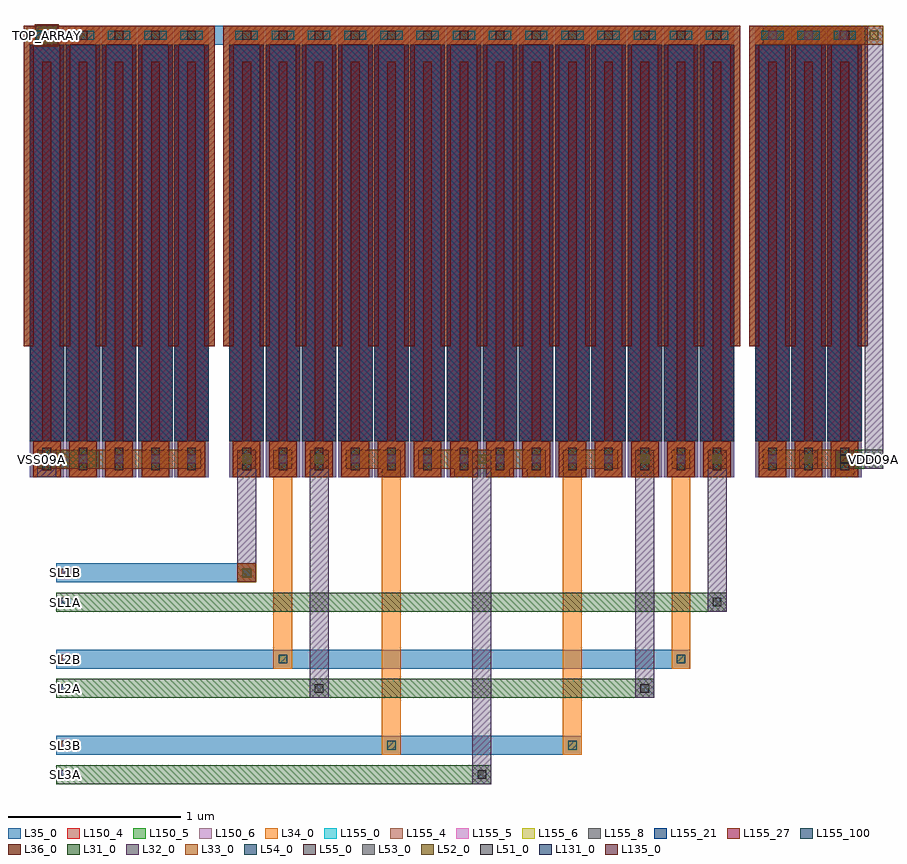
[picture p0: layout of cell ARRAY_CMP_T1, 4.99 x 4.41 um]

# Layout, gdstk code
from math import pi, radians
import gdstk
lib = gdstk.Library(unit=1e-6, precision=1e-09)
def R(c, l, rs):  # rectangles x0, y0, x1, y1
    for r in rs: c.add(gdstk.rectangle(r[:2], r[2:], *l))
def A(c, l, x, y, w, h, nx, ny, dx, dy):  # array of equal rectangles
    R(c, l, [(x+i*dx, y+j*dy, x+i*dx+w, y+j*dy+h) for i in range(nx) for j in range(ny)])
L31_0 = (31, 0)
L32_0 = (32, 0)
L33_0 = (33, 0)
L34_0 = (34, 0)
L35_0 = (35, 0)
L36_0 = (36, 0)
L51_0 = (51, 0)
L52_0 = (52, 0)
L53_0 = (53, 0)
L54_0 = (54, 0)
L55_0 = (55, 0)
L131_0 = (131, 0)
L135_0 = (135, 0)
L150_4 = (150, 4)
L150_5 = (150, 5)
L150_6 = (150, 6)
L155_0 = (155, 0)
L155_4 = (155, 4)
L155_5 = (155, 5)
L155_6 = (155, 6)
L155_8 = (155, 8)
L155_21 = (155, 21)
L155_27 = (155, 27)
L155_100 = (155, 100)

m5_m4_cdns_620205768207 = lib.new_cell('M5_M4_CDNS_620205768207')
R(m5_m4_cdns_620205768207, L34_0, [(-0.07,-0.105,0.07,0.105)])
R(m5_m4_cdns_620205768207, L35_0, [(-0.07,-0.105,0.07,0.105)])
R(m5_m4_cdns_620205768207, L54_0, [(-0.025,-0.065,0.025,0.065)])

m6_m5_cdns_620205768208 = lib.new_cell('M6_M5_CDNS_620205768208')
R(m6_m5_cdns_620205768208, L35_0, [(-0.07,-0.105,0.07,0.105)])
R(m6_m5_cdns_620205768208, L36_0, [(-0.055,-0.105,0.055,0.105)])
R(m6_m5_cdns_620205768208, L55_0, [(-0.025,-0.065,0.025,0.065)])

m5_m4_cdns_620205768209 = lib.new_cell('M5_M4_CDNS_620205768209')
R(m5_m4_cdns_620205768209, L34_0, [(-0.095,-0.055,0.095,0.055)])
R(m5_m4_cdns_620205768209, L35_0, [(-0.12,-0.055,0.12,0.055)])
R(m5_m4_cdns_620205768209, L54_0, [(-0.065,-0.025,0.065,0.025)])

m6_m5_cdns_6202057682010 = lib.new_cell('M6_M5_CDNS_6202057682010')
R(m6_m5_cdns_6202057682010, L35_0, [(-0.055,-0.055,0.055,0.055)])
R(m6_m5_cdns_6202057682010, L36_0, [(-0.055,-0.055,0.055,0.055)])
R(m6_m5_cdns_6202057682010, L55_0, [(-0.025,-0.025,0.025,0.025)])

cu1f = lib.new_cell('CU1F')
R(cu1f, L34_0, [(0.02,0,0.18,0.21), (-0.035,2.51,0.235,2.62)])
R(cu1f, L35_0, [(0.02,0,0.18,0.21), (-0.035,2.51,0.235,2.62)])
R(cu1f, L36_0, [(0.02,0,0.18,0.21), (-0.035,2.51,0.235,2.62)])
R(cu1f, L150_4, [(0,0,0.2,2.62)])
R(cu1f, L150_5, [(0,0,0.2,2.62)])
R(cu1f, L150_6, [(0,0,0.2,2.62)])
R(cu1f, L155_0, [(0,0.21,0.2,2.51)])
R(cu1f, L155_4, [(0,0.21,0.2,2.51)])
R(cu1f, L155_5, [(0,0.21,0.2,2.51)])
R(cu1f, L155_6, [(0,0.21,0.2,2.51)])
R(cu1f, L155_8, [(0,0.21,0.2,2.51)])
R(cu1f, L155_21, [(0,0.21,0.2,2.51)])
R(cu1f, L155_27, [(0,0.21,0.2,2.51)])
R(cu1f, L155_100, [(0,0.21,0.2,2.51)])
cu1f.add(gdstk.FlexPath([(0.205,2.59),(0.205,0.76)], 0.06, ends=(0.03, 0), simple_path=True, layer=34, datatype=0))  # L34_0
cu1f.add(gdstk.FlexPath([(0.1,2.41),(0.1,0)], 0.05, ends="flush", simple_path=True, layer=34, datatype=0))  # L34_0
cu1f.add(gdstk.FlexPath([(-0.005,2.59),(-0.005,0.76)], 0.06, ends=(0.03, 0), simple_path=True, layer=34, datatype=0))  # L34_0
cu1f.add(gdstk.FlexPath([(0.205,0.76),(0.205,2.59)], 0.06, ends=(0, 0.03), simple_path=True, layer=35, datatype=0))  # L35_0
cu1f.add(gdstk.FlexPath([(0.1,2.41),(0.1,0)], 0.05, ends="flush", simple_path=True, layer=35, datatype=0))  # L35_0
cu1f.add(gdstk.FlexPath([(-0.005,0.76),(-0.005,2.59)], 0.06, ends=(0, 0.03), simple_path=True, layer=35, datatype=0))  # L35_0
cu1f.add(gdstk.FlexPath([(0.205,0.76),(0.205,2.59)], 0.06, ends=(0, 0.03), simple_path=True, layer=36, datatype=0))  # L36_0
cu1f.add(gdstk.FlexPath([(0.1,2.41),(0.1,0)], 0.05, ends="flush", simple_path=True, layer=36, datatype=0))  # L36_0
cu1f.add(gdstk.FlexPath([(-0.005,0.76),(-0.005,2.59)], 0.06, ends=(0, 0.03), simple_path=True, layer=36, datatype=0))  # L36_0
cu1f.add(gdstk.Reference(m5_m4_cdns_620205768207, (0.1,0.105), rotation=pi, x_reflection=True))
cu1f.add(gdstk.Reference(m6_m5_cdns_620205768208, (0.1,0.105), rotation=pi, x_reflection=True))
cu1f.add(gdstk.Reference(m5_m4_cdns_620205768209, (0.1,2.565)))
cu1f.add(gdstk.Reference(m6_m5_cdns_6202057682010, (0.1,2.565)))

m2_m1_cdns_620205768200 = lib.new_cell('M2_M1_CDNS_620205768200')
R(m2_m1_cdns_620205768200, L31_0, [(-0.055,-0.055,0.055,0.055)])
R(m2_m1_cdns_620205768200, L32_0, [(-0.055,-0.055,0.055,0.055)])
R(m2_m1_cdns_620205768200, L51_0, [(-0.025,-0.025,0.025,0.025)])

m3_m2_cdns_620205768201 = lib.new_cell('M3_M2_CDNS_620205768201')
R(m3_m2_cdns_620205768201, L32_0, [(-0.055,-0.055,0.055,0.055)])
R(m3_m2_cdns_620205768201, L33_0, [(-0.055,-0.055,0.055,0.055)])
R(m3_m2_cdns_620205768201, L52_0, [(-0.025,-0.025,0.025,0.025)])

m4_m3_cdns_620205768202 = lib.new_cell('M4_M3_CDNS_620205768202')
R(m4_m3_cdns_620205768202, L33_0, [(-0.055,-0.055,0.055,0.055)])
R(m4_m3_cdns_620205768202, L34_0, [(-0.055,-0.055,0.055,0.055)])
R(m4_m3_cdns_620205768202, L53_0, [(-0.025,-0.025,0.025,0.025)])

m4_m3_cdns_620205768203 = lib.new_cell('M4_M3_CDNS_620205768203')
R(m4_m3_cdns_620205768203, L33_0, [(-0.07,-0.065,0.07,0.065)])
R(m4_m3_cdns_620205768203, L34_0, [(-0.055,-0.055,0.055,0.055)])
R(m4_m3_cdns_620205768203, L53_0, [(-0.025,-0.025,0.025,0.025)])

m3_m2_cdns_620205768204 = lib.new_cell('M3_M2_CDNS_620205768204')
R(m3_m2_cdns_620205768204, L32_0, [(-0.065,-0.06,0.065,0.06)])
R(m3_m2_cdns_620205768204, L33_0, [(-0.07,-0.065,0.07,0.065)])
R(m3_m2_cdns_620205768204, L52_0, [(-0.025,-0.025,0.025,0.025)])

m2_m1_cdns_620205768205 = lib.new_cell('M2_M1_CDNS_620205768205')
R(m2_m1_cdns_620205768205, L31_0, [(-0.055,-0.055,0.055,0.055)])
R(m2_m1_cdns_620205768205, L32_0, [(-0.065,-0.06,0.065,0.06)])
R(m2_m1_cdns_620205768205, L51_0, [(-0.025,-0.025,0.025,0.025)])

m5_m4_cdns_620205768206 = lib.new_cell('M5_M4_CDNS_620205768206')
R(m5_m4_cdns_620205768206, L34_0, [(-0.055,-0.055,0.055,0.055)])
R(m5_m4_cdns_620205768206, L35_0, [(-0.055,-0.055,0.055,0.055)])
R(m5_m4_cdns_620205768206, L54_0, [(-0.025,-0.025,0.025,0.025)])

array_cmp_t1 = lib.new_cell('ARRAY_CMP_T1')
R(array_cmp_t1, L31_0, [(-0.055,-1.78,2.47,-1.67), (-0.055,-1.28,3.415,-1.17), (-0.055,-0.78,3.835,-0.67), (-0.165,0.05,0.195,0.16), (4.465,0.05,4.745,0.16), (-0.18,2.5,-0.04,2.63)])
R(array_cmp_t1, L32_0, [(2.36,-1.78,2.47,0.16), (1.415,-1.28,1.525,0.16), (3.305,-1.28,3.415,0.16), (3.725,-0.78,3.835,0.16), (0.995,-0.61,1.105,0.16), (-0.165,0,-0.055,0.16), (4.465,0.05,4.575,0.16), (4.635,0.05,4.745,2.62)])
A(array_cmp_t1, L33_0, 2.255, 0, 0.11, 0.16, 4, 1, 0.21, 0)
R(array_cmp_t1, L33_0, [(1.835,0,1.945,0.16), (3.305,0,3.415,0.16), (4.465,0,4.575,0.16), (-0.165,0.05,0.785,0.16), (1.625,0.05,1.945,0.16), (2.045,0.05,2.785,0.16), (2.885,0.05,3.205,0.16), (4.045,0.05,4.575,0.16), (4.045,2.51,4.745,2.62)])
R(array_cmp_t1, L34_0, [(1.835,-1.61,1.945,0.16), (2.885,-1.61,2.995,0.16), (1.205,-1.11,1.315,0.16), (3.515,-1.11,3.625,0.16)])
R(array_cmp_t1, L35_0, [(-0.055,-1.61,2.995,-1.5), (-0.055,-1.11,3.625,-1), (-0.055,-0.61,1.105,-0.5), (-0.18,2.51,1.125,2.62)])
A(array_cmp_t1, L131_0, -0.025, -1.75, 0.05, 0.05, 1, 3, 0, 0.5)
R(array_cmp_t1, L131_0, [(-0.165,0.08,-0.115,0.13), (4.665,0.08,4.715,0.13), (-0.135,2.54,-0.085,2.59)])
A(array_cmp_t1, L135_0, -0.025, -1.58, 0.05, 0.05, 1, 3, 0, 0.5)
array_cmp_t1.add(gdstk.Reference(cu1f, (4,0)))
array_cmp_t1.add(gdstk.Reference(cu1f, (4.21,0)))
array_cmp_t1.add(gdstk.Reference(cu1f, (0.42,0)))
array_cmp_t1.add(gdstk.Reference(cu1f, (0.63,0)))
array_cmp_t1.add(gdstk.Reference(cu1f, (4.42,0)))
array_cmp_t1.add(gdstk.Reference(cu1f, (0.21,0)))
array_cmp_t1.add(gdstk.Reference(cu1f, (0,0)))
array_cmp_t1.add(gdstk.Reference(cu1f, (-0.21,0)))
array_cmp_t1.add(gdstk.Reference(cu1f, (3.68,0)))
array_cmp_t1.add(gdstk.Reference(cu1f, (3.47,0)))
array_cmp_t1.add(gdstk.Reference(cu1f, (3.26,0)))
array_cmp_t1.add(gdstk.Reference(cu1f, (3.05,0)))
array_cmp_t1.add(gdstk.Reference(cu1f, (2.84,0)))
array_cmp_t1.add(gdstk.Reference(cu1f, (2.63,0)))
array_cmp_t1.add(gdstk.Reference(cu1f, (2.42,0)))
array_cmp_t1.add(gdstk.Reference(cu1f, (2.21,0)))
array_cmp_t1.add(gdstk.Reference(cu1f, (2,0)))
array_cmp_t1.add(gdstk.Reference(cu1f, (1.79,0)))
array_cmp_t1.add(gdstk.Reference(cu1f, (1.58,0)))
array_cmp_t1.add(gdstk.Reference(cu1f, (1.37,0)))
array_cmp_t1.add(gdstk.Reference(cu1f, (1.16,0)))
array_cmp_t1.add(gdstk.Reference(cu1f, (0.95,0)))
array_cmp_t1.add(gdstk.Reference(m2_m1_cdns_620205768200, (2.415,-1.725)))
array_cmp_t1.add(gdstk.Reference(m2_m1_cdns_620205768200, (4.69,0.105)))
array_cmp_t1.add(gdstk.Reference(m2_m1_cdns_620205768200, (-0.11,0.105)))
array_cmp_t1.add(gdstk.Reference(m2_m1_cdns_620205768200, (1.47,-1.225)))
array_cmp_t1.add(gdstk.Reference(m2_m1_cdns_620205768200, (4.52,0.105)))
array_cmp_t1.add(gdstk.Reference(m2_m1_cdns_620205768200, (3.36,-1.225)))
array_cmp_t1.add(gdstk.Reference(m2_m1_cdns_620205768200, (3.78,-0.725)))
array_cmp_t1.add(gdstk.Reference(m3_m2_cdns_620205768201, (4.69,2.565)))
array_cmp_t1.add(gdstk.Reference(m3_m2_cdns_620205768201, (1.05,0.105)))
array_cmp_t1.add(gdstk.Reference(m3_m2_cdns_620205768201, (1.47,0.105)))
array_cmp_t1.add(gdstk.Reference(m3_m2_cdns_620205768201, (2.415,0.105)))
array_cmp_t1.add(gdstk.Reference(m3_m2_cdns_620205768201, (3.78,0.105)))
array_cmp_t1.add(gdstk.Reference(m3_m2_cdns_620205768201, (3.36,0.105)))
array_cmp_t1.add(gdstk.Reference(m3_m2_cdns_620205768201, (4.52,0.105)))
array_cmp_t1.add(gdstk.Reference(m3_m2_cdns_620205768201, (-0.11,0.105)))
array_cmp_t1.add(gdstk.Reference(m3_m2_cdns_620205768201, (4.31,0.105)))
array_cmp_t1.add(gdstk.Reference(m3_m2_cdns_620205768201, (1.05,-0.555)))
array_cmp_t1.add(gdstk.Reference(m4_m3_cdns_620205768202, (1.68,0.105)))
array_cmp_t1.add(gdstk.Reference(m4_m3_cdns_620205768202, (1.05,-0.555)))
array_cmp_t1.add(gdstk.Reference(m4_m3_cdns_620205768202, (4.51,2.565), rotation=pi, x_reflection=True))
array_cmp_t1.add(gdstk.Reference(m4_m3_cdns_620205768202, (4.1,2.565), rotation=pi, x_reflection=True))
array_cmp_t1.add(gdstk.Reference(m4_m3_cdns_620205768202, (1.05,0.105)))
array_cmp_t1.add(gdstk.Reference(m4_m3_cdns_620205768202, (1.26,0.105)))
array_cmp_t1.add(gdstk.Reference(m4_m3_cdns_620205768202, (1.47,0.105)))
array_cmp_t1.add(gdstk.Reference(m4_m3_cdns_620205768202, (1.89,0.105)))
array_cmp_t1.add(gdstk.Reference(m4_m3_cdns_620205768202, (2.1,0.105)))
array_cmp_t1.add(gdstk.Reference(m4_m3_cdns_620205768202, (2.31,0.105)))
array_cmp_t1.add(gdstk.Reference(m4_m3_cdns_620205768202, (2.52,0.105)))
array_cmp_t1.add(gdstk.Reference(m4_m3_cdns_620205768202, (2.73,0.105)))
array_cmp_t1.add(gdstk.Reference(m4_m3_cdns_620205768202, (2.94,0.105)))
array_cmp_t1.add(gdstk.Reference(m4_m3_cdns_620205768202, (3.15,0.105)))
array_cmp_t1.add(gdstk.Reference(m4_m3_cdns_620205768202, (3.36,0.105)))
array_cmp_t1.add(gdstk.Reference(m4_m3_cdns_620205768202, (3.57,0.105)))
array_cmp_t1.add(gdstk.Reference(m4_m3_cdns_620205768202, (3.78,0.105)))
array_cmp_t1.add(gdstk.Reference(m4_m3_cdns_620205768202, (4.52,0.105)))
array_cmp_t1.add(gdstk.Reference(m4_m3_cdns_620205768202, (0.1,0.105)))
array_cmp_t1.add(gdstk.Reference(m4_m3_cdns_620205768202, (0.31,0.105)))
array_cmp_t1.add(gdstk.Reference(m4_m3_cdns_620205768202, (-0.11,0.105)))
array_cmp_t1.add(gdstk.Reference(m4_m3_cdns_620205768202, (0.73,0.105)))
array_cmp_t1.add(gdstk.Reference(m4_m3_cdns_620205768202, (0.52,0.105)))
array_cmp_t1.add(gdstk.Reference(m4_m3_cdns_620205768202, (4.1,0.105)))
array_cmp_t1.add(gdstk.Reference(m4_m3_cdns_620205768202, (4.31,0.105)))
array_cmp_t1.add(gdstk.Reference(m4_m3_cdns_620205768202, (4.31,2.565), rotation=pi, x_reflection=True))
array_cmp_t1.add(gdstk.Reference(m4_m3_cdns_620205768203, (-0.11,2.565)))
array_cmp_t1.add(gdstk.Reference(m3_m2_cdns_620205768204, (-0.11,2.565)))
array_cmp_t1.add(gdstk.Reference(m2_m1_cdns_620205768205, (-0.11,2.565)))
array_cmp_t1.add(gdstk.Reference(m5_m4_cdns_620205768206, (1.05,-0.555)))
array_cmp_t1.add(gdstk.Reference(m5_m4_cdns_620205768206, (1.89,-1.555)))
array_cmp_t1.add(gdstk.Reference(m5_m4_cdns_620205768206, (3.57,-1.055)))
array_cmp_t1.add(gdstk.Reference(m5_m4_cdns_620205768206, (1.26,-1.055)))
array_cmp_t1.add(gdstk.Reference(m5_m4_cdns_620205768206, (2.94,-1.555)))
array_cmp_t1.add(gdstk.Label('SL3B', (0,-1.555), layer=135, texttype=0))
array_cmp_t1.add(gdstk.Label('SL2B', (0,-1.055), layer=135, texttype=0))
array_cmp_t1.add(gdstk.Label('SL1B', (0,-0.555), layer=135, texttype=0))
array_cmp_t1.add(gdstk.Label('VDD09A', (4.69,0.105), layer=131, texttype=0))
array_cmp_t1.add(gdstk.Label('SL1A', (0,-0.725), layer=131, texttype=0))
array_cmp_t1.add(gdstk.Label('VSS09A', (-0.14,0.105), layer=131, texttype=0))
array_cmp_t1.add(gdstk.Label('SL2A', (0,-1.225), layer=131, texttype=0))
array_cmp_t1.add(gdstk.Label('TOP_ARRAY', (-0.112,2.565), layer=131, texttype=0))
array_cmp_t1.add(gdstk.Label('SL3A', (0,-1.725), layer=131, texttype=0))

lib.write_gds('ARRAY_CMP_T1.gds')
